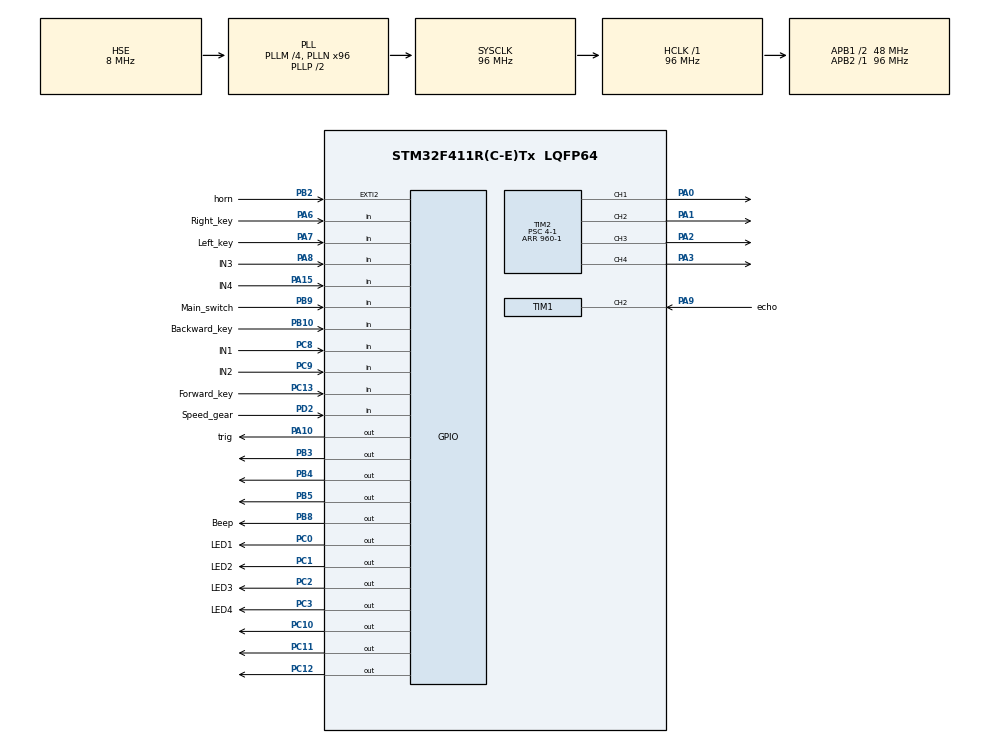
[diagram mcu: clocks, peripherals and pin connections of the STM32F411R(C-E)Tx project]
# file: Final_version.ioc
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Mcu.Family=STM32F4
Mcu.Name=STM32F411R(C-E)Tx
Mcu.Package=LQFP64
NVIC.EXTI2_IRQn=true\:8\:0\:true\:false\:true\:true\:true
NVIC.PriorityGroup=NVIC_PRIORITYGROUP_4
NVIC.TIM1_CC_IRQn=true\:3\:0\:true\:false\:true\:true\:true
PA0-WKUP.Signal=S_TIM2_CH1_ETR
PA1.Signal=S_TIM2_CH2
PA10.GPIO_Label=trig
PA10.GPIO_PuPd=GPIO_PULLDOWN
PA10.GPIO_Speed=GPIO_SPEED_FREQ_HIGH
PA10.PinState=GPIO_PIN_SET
PA10.Signal=GPIO_Output
PA13.Mode=Serial_Wire
PA13.Signal=SYS_JTMS-SWDIO
PA14.Mode=Serial_Wire
PA14.Signal=SYS_JTCK-SWCLK
PA15.GPIO_Label=IN4
PA15.Signal=GPIO_Input
PA2.Signal=S_TIM2_CH3
PA3.Signal=S_TIM2_CH4
PA6.GPIO_Label=Right_key
PA6.GPIO_PuPd=GPIO_PULLDOWN
PA6.Signal=GPIO_Input
PA7.GPIO_Label=Left_key
PA7.GPIO_PuPd=GPIO_PULLDOWN
PA7.Signal=GPIO_Input
PA8.GPIO_Label=IN3
PA8.Signal=GPIO_Input
PA9.GPIO_Label=echo
PA9.GPIO_PuPd=GPIO_PULLDOWN
PA9.GPIO_Speed=GPIO_SPEED_FREQ_HIGH
PA9.Signal=S_TIM1_CH2
PB10.GPIO_Label=Backward_key
PB10.GPIO_PuPd=GPIO_PULLDOWN
PB10.Signal=GPIO_Input
PB2.GPIO_Label=horn
PB2.GPIO_ModeDefaultEXTI=GPIO_MODE_IT_RISING
PB2.GPIO_PuPd=GPIO_PULLDOWN
PB2.Signal=GPXTI2
PB3.GPIO_PuPd=GPIO_PULLUP
PB3.GPIO_Speed=GPIO_SPEED_FREQ_HIGH
PB3.PinState=GPIO_PIN_SET
PB3.Signal=GPIO_Output
PB4.GPIO_PuPd=GPIO_PULLUP
PB4.GPIO_Speed=GPIO_SPEED_FREQ_HIGH
PB4.PinState=GPIO_PIN_SET
PB4.Signal=GPIO_Output
PB5.GPIO_PuPd=GPIO_PULLUP
PB5.GPIO_Speed=GPIO_SPEED_FREQ_HIGH
PB5.PinState=GPIO_PIN_SET
PB5.Signal=GPIO_Output
PB8.GPIO_Label=Beep
PB8.GPIO_PuPd=GPIO_PULLUP
PB8.GPIO_Speed=GPIO_SPEED_FREQ_HIGH
PB8.PinState=GPIO_PIN_SET
PB8.Signal=GPIO_Output
PB9.GPIO_Label=Main_switch
PB9.GPIO_PuPd=GPIO_PULLDOWN
PB9.Signal=GPIO_Input
PC0.GPIO_Label=LED1
PC0.GPIO_PuPd=GPIO_PULLUP
PC0.GPIO_Speed=GPIO_SPEED_FREQ_HIGH
PC0.PinState=GPIO_PIN_SET
PC0.Signal=GPIO_Output
PC1.GPIO_Label=LED2
PC1.GPIO_PuPd=GPIO_PULLUP
PC1.GPIO_Speed=GPIO_SPEED_FREQ_HIGH
PC1.PinState=GPIO_PIN_SET
PC1.Signal=GPIO_Output
PC10.GPIO_PuPd=GPIO_PULLUP
PC10.GPIO_Speed=GPIO_SPEED_FREQ_HIGH
PC10.PinState=GPIO_PIN_SET
PC10.Signal=GPIO_Output
PC11.GPIO_PuPd=GPIO_PULLUP
PC11.GPIO_Speed=GPIO_SPEED_FREQ_HIGH
PC11.PinState=GPIO_PIN_SET
PC11.Signal=GPIO_Output
PC12.GPIO_PuPd=GPIO_PULLUP
PC12.GPIO_Speed=GPIO_SPEED_FREQ_HIGH
PC12.PinState=GPIO_PIN_SET
PC12.Signal=GPIO_Output
PC13-ANTI_TAMP.GPIO_Label=Forward_key
PC13-ANTI_TAMP.GPIO_PuPd=GPIO_PULLDOWN
PC13-ANTI_TAMP.Signal=GPIO_Input
PC2.GPIO_Label=LED3
PC2.GPIO_PuPd=GPIO_PULLUP
PC2.GPIO_Speed=GPIO_SPEED_FREQ_HIGH
PC2.PinState=GPIO_PIN_SET
PC2.Signal=GPIO_Output
PC3.GPIO_Label=LED4
PC3.GPIO_PuPd=GPIO_PULLUP
PC3.GPIO_Speed=GPIO_SPEED_FREQ_HIGH
PC3.PinState=GPIO_PIN_SET
PC3.Signal=GPIO_Output
PC8.GPIO_Label=IN1
PC8.Signal=GPIO_Input
PC9.GPIO_Label=IN2
PC9.Signal=GPIO_Input
PD2.GPIO_Label=Speed_gear
PD2.GPIO_PuPd=GPIO_PULLDOWN
PD2.Signal=GPIO_Input
PH0\ -\ OSC_IN.Mode=HSE-External-Oscillator
PH0\ -\ OSC_IN.Signal=RCC_OSC_IN
PH1\ -\ OSC_OUT.Mode=HSE-External-Oscillator
PH1\ -\ OSC_OUT.Signal=RCC_OSC_OUT
ProjectManager.HeapSize=0x200
ProjectManager.StackSize=0x400
ProjectManager.TargetToolchain=MDK-ARM V5.32
RCC.48MHZClocksFreq_Value=48000000
RCC.AHBFreq_Value=96000000
RCC.APB1CLKDivider=RCC_HCLK_DIV2
RCC.APB1Freq_Value=48000000
RCC.APB1TimFreq_Value=96000000
RCC.APB2Freq_Value=96000000
RCC.APB2TimFreq_Value=96000000
RCC.CortexFreq_Value=96000000
RCC.HCLKFreq_Value=96000000
RCC.HSE_VALUE=8000000
RCC.HSI_VALUE=16000000
RCC.LSE_VALUE=32768
RCC.PLLM=4
RCC.PLLN=96
RCC.PLLSourceVirtual=RCC_PLLSOURCE_HSE
RCC.SYSCLKFreq_VALUE=96000000
RCC.SYSCLKSource=RCC_SYSCLKSOURCE_PLLCLK
RCC.VCOOutputFreq_Value=192000000
SH.S_TIM1_CH2.0=TIM1_CH2,Input_Capture2_from_TI2
SH.S_TIM2_CH1_ETR.0=TIM2_CH1,PWM Generation1 CH1
SH.S_TIM2_CH2.0=TIM2_CH2,PWM Generation2 CH2
SH.S_TIM2_CH3.0=TIM2_CH3,PWM Generation3 CH3
SH.S_TIM2_CH4.0=TIM2_CH4,PWM Generation4 CH4
TIM1.AutoReloadPreload=TIM_AUTORELOAD_PRELOAD_ENABLE
TIM1.Channel-Input_Capture2_from_TI2=TIM_CHANNEL_2
TIM1.Period=65535-1
TIM1.Prescaler=96-1
TIM2.AutoReloadPreload=TIM_AUTORELOAD_PRELOAD_ENABLE
TIM2.Channel-PWM\ Generation1\ CH1=TIM_CHANNEL_1
TIM2.Channel-PWM\ Generation2\ CH2=TIM_CHANNEL_2
TIM2.Channel-PWM\ Generation3\ CH3=TIM_CHANNEL_3
TIM2.Channel-PWM\ Generation4\ CH4=TIM_CHANNEL_4
TIM2.Period=960-1
TIM2.Prescaler=4-1
VP_TIM1_VS_ClockSourceINT.Mode=Internal
VP_TIM2_VS_ClockSourceINT.Mode=Internal
board=custom

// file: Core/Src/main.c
/* USER CODE BEGIN Header */
/**
  ******************************************************************************
  * @file           : main.c
  * @brief          : Main program body
  ******************************************************************************
  * @attention
  *
  * <h2><center>&copy; Copyright (c) 2021 STMicroelectronics.
  * All rights reserved.</center></h2>
  *
  * This software component is licensed by ST under BSD 3-Clause license,
  * the "License"; You may not use this file except in compliance with the
  * License. You may obtain a copy of the License at:
  *                        opensource.org/licenses/BSD-3-Clause
  *
  ******************************************************************************
  */
/* USER CODE END Header */
#include "main.h"
#include "tim.h"
#include "gpio.h"

/* USER CODE BEGIN Includes */
#include "smg.h"
#include "delay.h"
#include "motor.h"
#include "ultrasonic.h"
/* USER CODE END Includes */

/* USER CODE BEGIN PTD */
// 结构体定义
/* USER CODE END PTD */

/* USER CODE BEGIN PD */
// 定义
/* USER CODE END PD */

/* USER CODE BEGIN PM */
// 宏定义
/* USER CODE END PM */

/* USER CODE BEGIN PV */
// 私有变量
static uint8_t LEFT_SENSOR = 0;
static uint8_t MIDDLE_SENSOR = 0;
static uint8_t RIGHT_SENSOR = 0;

static uint8_t Main_switch = 0;
static uint8_t Speed_gear = 0;
static uint8_t horn = 0;
static uint8_t Forward_key = 0;
static uint8_t Backward_key = 0;
static uint8_t Left_key = 0;
static uint8_t Right_key = 0;

extern uint8_t smg_num[];
/* USER CODE END PV */

void SystemClock_Config(void);
/* USER CODE BEGIN PFP */
// 私有函数原型
void HAL_GPIO_EXTI_Callback(uint16_t GPIO_Pin);
/* USER CODE END PFP */

int main(void)
{
  /* USER CODE BEGIN 1 */
	uint32_t distance;
  /* USER CODE END 1 */

  /* MCU Configuration--------------------------------------------------------*/

  /* Reset of all peripherals, Initializes the Flash interface and the Systick. */
  HAL_Init();

  /* USER CODE BEGIN Init */
	SMG_Init();
  /* USER CODE END Init */

  /* Configure the system clock */
  SystemClock_Config();

  /* Initialize all configured peripherals */
  MX_GPIO_Init();
  MX_TIM1_Init();
  MX_TIM2_Init();
  /* USER CODE BEGIN 2 */
	Ultrasonic_Init();
		/*	蜂鸣器引脚拉高（不响）*/
	HAL_GPIO_WritePin(GPIOB,GPIO_PIN_8,GPIO_PIN_SET);
  /* USER CODE END 2 */

  /* Infinite loop */
	while (1)
	{

    /* USER CODE BEGIN 3 */
		HAL_Delay(30);
		CAR_STOP();
		HAL_GPIO_WritePin(LED1_GPIO_Port,LED1_Pin,GPIO_PIN_SET);
		HAL_GPIO_WritePin(LED2_GPIO_Port,LED2_Pin,GPIO_PIN_SET);
		HAL_GPIO_WritePin(LED3_GPIO_Port,LED3_Pin,GPIO_PIN_SET);
		/*	模式	*/
		if(HAL_GPIO_ReadPin(Main_switch_GPIO_Port,Main_switch_Pin)==GPIO_PIN_SET)
			Main_switch = 1;
		else
		{
			Main_switch = 0;
		}

		/*	遥控开关打开，使用小程序&8266控制	*/
		if(Main_switch)
		{
			/* 识别引脚状态	*/
			if(HAL_GPIO_ReadPin(Speed_gear_GPIO_Port,Speed_gear_Pin)==GPIO_PIN_SET)
				Speed_gear = 1;
			else
				Speed_gear = 0;
			if(HAL_GPIO_ReadPin(Forward_key_GPIO_Port,Forward_key_Pin)==GPIO_PIN_SET)
				Forward_key = 1;
			else
				Forward_key = 0;
			if(HAL_GPIO_ReadPin(Backward_key_GPIO_Port,Backward_key_Pin)==GPIO_PIN_SET)
				Backward_key = 1;
			else
				Backward_key = 0;
			if(HAL_GPIO_ReadPin(Left_key_GPIO_Port,Left_key_Pin)==GPIO_PIN_SET)
				Left_key = 1;
			else
				Left_key = 0;
			if(HAL_GPIO_ReadPin(Right_key_GPIO_Port,Right_key_Pin)==GPIO_PIN_SET)
				Right_key = 1;
			else
				Right_key = 0;

			/*	状态处理		*/
			if(Forward_key)
			{
				/*
					* Speed_gear = 1:高速前进
					*
					*
				*/
				if(Speed_gear)
				{
					LEFT_WHEEL_CTRL(HIGH_SPEED,NONE_SPEED);
					RIGHT_WHEEL_CTRL(HIGH_SPEED,NONE_SPEED);
				}
				else
				{
					LEFT_WHEEL_CTRL(MIDDLE_SPEED,NONE_SPEED);
					RIGHT_WHEEL_CTRL(MIDDLE_SPEED,NONE_SPEED);
				}
			}
			if(Backward_key)
			{
				/*
					* Speed_gear = 1:高速倒退
					*
					*
				*/
				if(Speed_gear)
				{
					LEFT_WHEEL_CTRL(NONE_SPEED,HIGH_SPEED);
					RIGHT_WHEEL_CTRL(NONE_SPEED,HIGH_SPEED);
				}
				else
				{
					LEFT_WHEEL_CTRL(NONE_SPEED,MIDDLE_SPEED);
					RIGHT_WHEEL_CTRL(NONE_SPEED,MIDDLE_SPEED);
				}
			}
			if(Left_key)
			{
				/*如果正在前进或后退*/
				if(Forward_key || Backward_key)
				{
					if(Speed_gear)
					{
						LEFT_WHEEL_CTRL(MIDDLE_SPEED,NONE_SPEED);
					}
					else
					{
						LEFT_WHEEL_CTRL(LOW_SPEED,NONE_SPEED);
					}
				}
				else
					/*原地转弯*/
				{
					LEFT_WHEEL_CTRL(NONE_SPEED,NONE_SPEED);
					RIGHT_WHEEL_CTRL(LOW_SPEED,NONE_SPEED);
				}
			}
			if(Right_key)
			{
				/*如果正在前进或后退*/
				if(Forward_key || Backward_key)
				{
					if(Speed_gear)
					{
						RIGHT_WHEEL_CTRL(MIDDLE_SPEED,NONE_SPEED);
					}
					else
					{
						RIGHT_WHEEL_CTRL(LOW_SPEED,NONE_SPEED);
					}
				}
				else
					/*原地转弯*/
				{
					LEFT_WHEEL_CTRL(LOW_SPEED,NONE_SPEED);
					RIGHT_WHEEL_CTRL(NONE_SPEED,NONE_SPEED);
				}
			}
		}
		else
		{
			/*	循迹模式	*/
				/*	状态重置		*/
			//HAL_Delay(150);
			LEFT_SENSOR = 0;
			MIDDLE_SENSOR = 0;
			RIGHT_SENSOR = 0;

				/*	状态判断		*/
			if(HAL_GPIO_ReadPin(IN1_GPIO_Port,IN1_Pin) == SET)
			{
				HAL_GPIO_WritePin(LED3_GPIO_Port,LED3_Pin,GPIO_PIN_RESET);
				RIGHT_SENSOR = 1;
			}
			if(HAL_GPIO_ReadPin(IN2_GPIO_Port,IN2_Pin) == SET)
			{
				HAL_GPIO_WritePin(LED2_GPIO_Port,LED2_Pin,GPIO_PIN_RESET);
				MIDDLE_SENSOR = 1;
			}
			if(HAL_GPIO_ReadPin(IN3_GPIO_Port,IN3_Pin) == SET)
			{
				HAL_GPIO_WritePin(LED1_GPIO_Port,LED1_Pin,GPIO_PIN_RESET);
				LEFT_SENSOR = 1;
			}

				/*	测量并显示距离	*/
			distance = Measure_distance();
			LED_Display(distance);
			if(distance <= 200)
			{
				HAL_GPIO_WritePin(Beep_GPIO_Port,Beep_Pin,GPIO_PIN_RESET);
				continue;
			}
			else
			{
				HAL_GPIO_WritePin(Beep_GPIO_Port,Beep_Pin,GPIO_PIN_SET);
			}
				/*	红外传感器事件处理		*/
			if(LEFT_SENSOR && MIDDLE_SENSOR && RIGHT_SENSOR)
			{
				/*
					* 全触黑线
					* =>十字 | T字 | 三岔
					* ==>继续低速行驶
				*/
				LOW_SPEED_RUN();
				continue;
			}
			if(LEFT_SENSOR && MIDDLE_SENSOR)
			{
				/*
					* 左中触黑线
					* =>弯道 | 左直角
					* ==>左轮低速后退，右轮低速调整方向
				*/
				LEFT_WHEEL_CTRL(NONE_SPEED,LOW_SPEED);
				RIGHT_WHEEL_CTRL(LOW_SPEED,NONE_SPEED);
				continue;
			}
			if(MIDDLE_SENSOR && RIGHT_SENSOR)
			{
				/*
					* 中右触黑线
					* =>弯道 | 右直角
					* ==>左轮低速调整方向，右轮低速后退
				*/
				LEFT_WHEEL_CTRL(LOW_SPEED,NONE_SPEED);
				RIGHT_WHEEL_CTRL(NONE_SPEED,LOW_SPEED);
				continue;
			}
			if(LEFT_SENSOR && RIGHT_SENSOR)
			{
				/*
					* 左右触黑线
					* =>三岔路口
					* ==>左轮低速后退，右轮中速调整方向（优先向左走）
				*/
				LEFT_WHEEL_CTRL(NONE_SPEED,LOW_SPEED);
				RIGHT_WHEEL_CTRL(MIDDLE_SPEED,NONE_SPEED);
				continue;
			}
			if(LEFT_SENSOR)
			{
				/*
					* 左触黑线
					* =>车大幅向右偏
					* ==>左轮低速后退，右轮中速调整方向
				*/
				LEFT_WHEEL_CTRL(NONE_SPEED,LOW_SPEED);
				RIGHT_WHEEL_CTRL(MIDDLE_SPEED,NONE_SPEED);
				continue;
			}
			if(MIDDLE_SENSOR)
			{
				/*
					* 中触黑线
					* =>直道
					* ==>保持低速前进
				*/
				LOW_SPEED_RUN();
				continue;
			}
			if(RIGHT_SENSOR)
			{
				/*
					* 右触黑线
					* =>车大幅向左偏
					* ==>左轮中速调整方向，右轮低速后退
				*/
				LEFT_WHEEL_CTRL(MIDDLE_SPEED,NONE_SPEED);
				RIGHT_WHEEL_CTRL(NONE_SPEED,LOW_SPEED);
				continue;
			}
			if(LEFT_SENSOR == 0 && MIDDLE_SENSOR == 0 && RIGHT_SENSOR == 0)
			{
				/*
					* 全部信号丢失
					* =>T字 | 起点
					* ==>左轮中速调整方向，右轮中速后退
				*/
				LEFT_WHEEL_CTRL(MIDDLE_SPEED,NONE_SPEED);
				RIGHT_WHEEL_CTRL(NONE_SPEED,MIDDLE_SPEED);
				continue;
			}
		}
	}
  /* USER CODE END 3 */
}

void SystemClock_Config(void)
{
  RCC_OscInitTypeDef RCC_OscInitStruct = {0};
  RCC_ClkInitTypeDef RCC_ClkInitStruct = {0};

  /** Configure the main internal regulator output voltage
  */
  __HAL_RCC_PWR_CLK_ENABLE();
  __HAL_PWR_VOLTAGESCALING_CONFIG(PWR_REGULATOR_VOLTAGE_SCALE1);
  /** Initializes the RCC Oscillators according to the specified parameters
  * in the RCC_OscInitTypeDef structure.
  */
  RCC_OscInitStruct.OscillatorType = RCC_OSCILLATORTYPE_HSE;
  RCC_OscInitStruct.HSEState = RCC_HSE_ON;
  RCC_OscInitStruct.PLL.PLLState = RCC_PLL_ON;
  RCC_OscInitStruct.PLL.PLLSource = RCC_PLLSOURCE_HSE;
  RCC_OscInitStruct.PLL.PLLM = 4;
  RCC_OscInitStruct.PLL.PLLN = 96;
  RCC_OscInitStruct.PLL.PLLP = RCC_PLLP_DIV2;
  RCC_OscInitStruct.PLL.PLLQ = 4;
  if (HAL_RCC_OscConfig(&RCC_OscInitStruct) != HAL_OK)
  {
    Error_Handler();
  }
  /** Initializes the CPU, AHB and APB buses clocks
  */
  RCC_ClkInitStruct.ClockType = RCC_CLOCKTYPE_HCLK|RCC_CLOCKTYPE_SYSCLK
                              |RCC_CLOCKTYPE_PCLK1|RCC_CLOCKTYPE_PCLK2;
  RCC_ClkInitStruct.SYSCLKSource = RCC_SYSCLKSOURCE_PLLCLK;
  RCC_ClkInitStruct.AHBCLKDivider = RCC_SYSCLK_DIV1;
  RCC_ClkInitStruct.APB1CLKDivider = RCC_HCLK_DIV2;
  RCC_ClkInitStruct.APB2CLKDivider = RCC_HCLK_DIV1;

  if (HAL_RCC_ClockConfig(&RCC_ClkInitStruct, FLASH_LATENCY_3) != HAL_OK)
  {
    Error_Handler();
  }
}

/* USER CODE BEGIN 4 */
// 喇叭信号回调函数
void HAL_GPIO_EXTI_Callback(uint16_t GPIO_Pin)
{
	if(GPIO_Pin == horn_Pin)
	{
		HAL_GPIO_WritePin(Beep_GPIO_Port,Beep_Pin,GPIO_PIN_RESET); //BEEP引脚拉低，响， 等同BEEP=0;
        HAL_Delay(600);
		HAL_GPIO_WritePin(Beep_GPIO_Port,Beep_Pin,GPIO_PIN_SET);   //BEEP引脚拉高，不响，等同BEEP=1;
        HAL_Delay(600);
		HAL_GPIO_WritePin(Beep_GPIO_Port,Beep_Pin,GPIO_PIN_RESET); //BEEP引脚拉低，响， 等同BEEP=0;
        HAL_Delay(600);
		HAL_GPIO_WritePin(Beep_GPIO_Port,Beep_Pin,GPIO_PIN_SET);   //BEEP引脚拉高，不响，等同BEEP=1;
	}
}
/* USER CODE END 4 */

void Error_Handler(void)
{
  __disable_irq();
  while (1)
  {
  }
}

/************************ (C) COPYRIGHT STMicroelectronics *****END OF FILE****/
